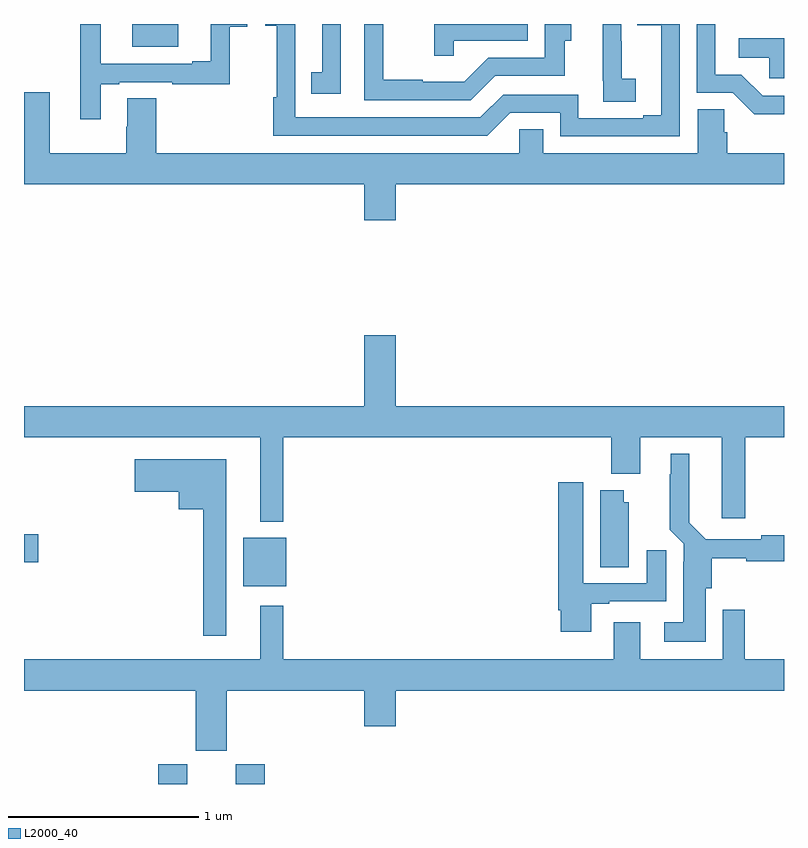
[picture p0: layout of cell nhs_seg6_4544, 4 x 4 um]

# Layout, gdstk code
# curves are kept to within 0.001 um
import gdstk
lib = gdstk.Library(unit=1e-6, precision=1e-09)
def R(c, l, rs):  # rectangles x0, y0, x1, y1
    for r in rs: c.add(gdstk.rectangle(r[:2], r[2:], *l))
def P(c, l, *ps):  # polygons
    for p in ps: c.add(gdstk.Polygon(p, *l))
L2000_40 = (2000, 40)

nhs_seg6_4544 = lib.new_cell('nhs_seg6_4544')
R(nhs_seg6_4544, L2000_40, [(379.706,957.5,379.858,957.603), (380.114,957.5,380.267,957.603), (380.153,958.541,380.38,958.795), (379,958.667,379.075,958.814), (379.571,961.379,379.813,961.5)])
P(nhs_seg6_4544, L2000_40, [(381.261,961.413),(381.651,961.413),(381.651,961.5),(381.16,961.5),(381.16,961.332),(381.261,961.332)],
  [(379.405,961.182),(379.501,961.182),(379.501,961.194),(379.78,961.194),(379.78,961.182),(380.082,961.182),(380.082,961.486),(380.176,961.486),(380.176,961.5),(379.982,961.5),(379.982,961.303),(379.886,961.303),(379.886,961.29),(379.405,961.29),(379.405,961.5),(379.296,961.5),(379.296,961.243),(379.295,961.243),(379.295,960.999),(379.405,960.999)],
  [(382.452,961.5),(382.228,961.5),(382.228,961.494),(382.355,961.494),(382.355,961.02),(382.259,961.02),(382.259,961.005),(381.918,961.005),(381.918,961.128),(381.522,961.128),(381.402,961.008),(380.427,961.008),(380.428,961.5),(380.271,961.5),(380.271,961.491),(380.329,961.491),(380.329,961.115),(380.311,961.115),(380.311,960.912),(381.438,960.912),(381.558,961.032),(381.822,961.032),(381.822,960.909),(382.452,960.909)],
  [(383,961.122),(382.887,961.122),(382.776,961.233),(382.638,961.233),(382.638,961.5),(382.542,961.5),(382.542,961.137),(382.731,961.137),(382.844,961.025),(383,961.025)],
  [(382.219,961.212),(382.145,961.212),(382.145,961.409),(382.143,961.409),(382.143,961.5),(382.046,961.5),(382.046,961.201),(382.048,961.201),(382.048,961.09),(382.219,961.09)],
  [(380.667,961.5),(380.57,961.5),(380.57,961.247),(380.512,961.247),(380.512,961.134),(380.667,961.134)],
  [(381.48,961.227),(381.847,961.227),(381.847,961.411),(381.88,961.411),(381.88,961.5),(381.74,961.5),(381.74,961.323),(381.444,961.323),(381.316,961.195),(381.098,961.195),(381.098,961.207),(380.891,961.207),(380.891,961.5),(380.79,961.5),(380.79,961.098),(381.351,961.098)],
  [(383,961.426),(382.761,961.426),(382.761,961.322),(382.923,961.322),(382.923,961.215),(383,961.215)],
  [(380.956,960.656),(383,960.656),(383,960.82),(382.7,960.82),(382.7,960.929),(382.686,960.929),(382.686,961.052),(382.547,961.052),(382.547,960.82),(381.733,960.82),(381.733,960.947),(381.606,960.947),(381.606,960.82),(379.697,960.82),(379.697,961.109),(379.544,961.109),(379.544,960.959),(379.537,960.959),(379.537,960.82),(379.135,960.82),(379.135,961.141),(379,961.141),(379,960.656),(380.792,960.656),(380.792,960.468),(380.956,960.468)],
  [(380.365,959.324),(382.091,959.324),(382.091,959.132),(382.243,959.132),(382.243,959.324),(382.673,959.324),(382.673,958.899),(382.796,958.899),(382.796,959.324),(383,959.324),(383,959.488),(380.956,959.488),(380.956,959.863),(380.792,959.863),(380.792,959.488),(379,959.488),(379,959.324),(380.243,959.324),(380.243,958.88),(380.365,958.88)],
  [(382.588,958.53),(382.619,958.53),(382.619,958.687),(382.802,958.687),(382.802,958.672),(383,958.672),(383,958.808),(382.879,958.808),(382.879,958.788),(382.588,958.788),(382.501,958.876),(382.501,959.239),(382.403,959.239),(382.403,959.129),(382.399,959.129),(382.399,958.838),(382.473,958.764),(382.473,958.67),(382.469,958.67),(382.469,958.351),(382.371,958.351),(382.371,958.25),(382.588,958.25)],
  [(380.065,959.209),(379.584,959.209),(379.584,959.039),(379.814,959.039),(379.814,958.946),(379.944,958.946),(379.944,958.281),(380.065,958.281)],
  [(381.985,958.449),(382.081,958.449),(382.081,958.461),(382.381,958.461),(382.381,958.729),(382.277,958.729),(382.277,958.557),(381.943,958.557),(381.943,959.089),(381.812,959.089),(381.812,958.414),(381.824,958.414),(381.824,958.302),(381.985,958.302)],
  [(382.183,958.983),(382.156,958.983),(382.156,959.047),(382.034,959.047),(382.034,958.642),(382.183,958.642)],
  [(380.068,957.992),(380.792,957.992),(380.792,957.804),(380.956,957.804),(380.956,957.992),(383,957.992),(383,958.156),(382.793,958.156),(382.793,958.417),(382.677,958.417),(382.677,958.156),(382.243,958.156),(382.243,958.351),(382.103,958.351),(382.103,958.156),(380.365,958.156),(380.365,958.438),(380.243,958.438),(380.243,958.156),(379,958.156),(379,957.992),(379.904,957.992),(379.904,957.675),(380.068,957.675)])

lib.write_gds('nhs_seg6_4544.gds')
